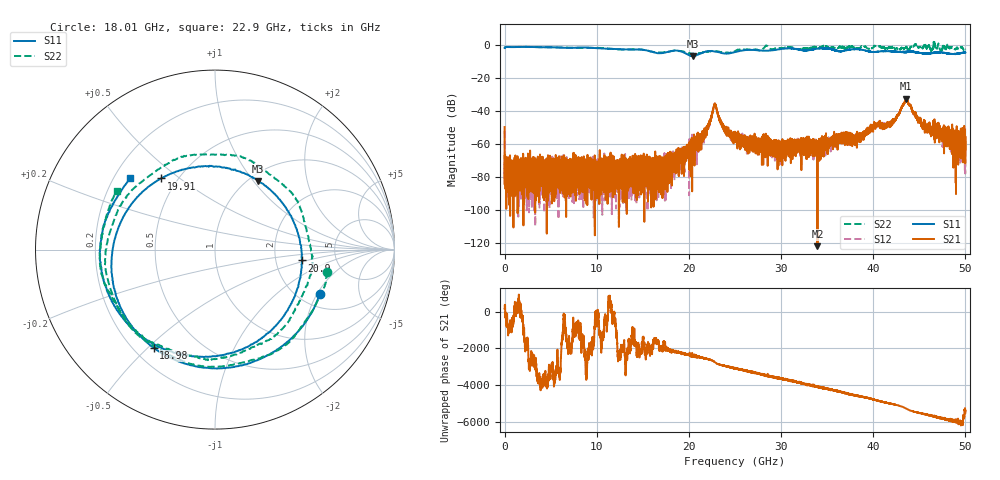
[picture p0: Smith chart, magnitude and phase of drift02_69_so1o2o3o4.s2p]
!Created with skrf (http://scikit-rf.org).
# Hz S RI R 50.0
!freq ReS11 ImS11 ReS21 ImS21 ReS12 ImS12 ReS22 ImS22
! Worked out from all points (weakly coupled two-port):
!   10001 points, 300 kHz to 50 GHz, reference 50 ohm
!   highest |S21| = -32.81 dB at 43.59 GHz (marker M1); lowest = -122.2 dB at 33.95 GHz (marker M2)
!   lowest |S11| = -6.9 dB at 20.41 GHz (marker M3), VSWR 2.64, Z = 55.3 + j52.8 ohm
!   |S11| at or under -10 dB: nowhere
!   |S22| runs from -5.7 to 2.6 dB; largest |S21 - S12| = 0.0043
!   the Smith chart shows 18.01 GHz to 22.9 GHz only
!   S11 on the Smith chart (normalised r, x): 18.01 GHz: 2.57, -2.10; 18.98 GHz: 0.28, -0.52; 19.91 GHz: 0.41, +0.43; 20.9 GHz: 2.82, -0.45; 22.9 GHz: 0.27, +0.34
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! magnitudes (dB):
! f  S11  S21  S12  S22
! 300 kHz  -2.1  -49.9  -52.3  -2.1
! 255.3 MHz  -1.4  -79.2  -83.0  -1.4
! 8.335 GHz  -1.7  -77.1  -74.7  -1.9
! 16.67 GHz  -5.2  -77.9  -73.0  -4.7
! 18.01 GHz  -4.0  -70.7  -70.0  -3.9
! 18.98 GHz  -3.8  -64.6  -64.8  -3.9
! 19.91 GHz  -6.1  -65.2  -66.0  -5.2
! 20.41 GHz  -6.9  -64.0  -58.7  -5.4
! 20.9 GHz  -6.2  -63.6  -61.3  -5.6
! 21.87 GHz  -4.2  -51.6  -52.1  -4.2
! 22.9 GHz  -4.2  -36.5  -37.0  -3.9
! 23.7 GHz  -5.2  -48.7  -48.4  -4.6
! 25 GHz  -4.5  -55.0  -54.9  -3.9
! 29.74 GHz  -2.9  -61.0  -62.6  -2.1
! 33.34 GHz  -3.0  -60.2  -60.1  -1.5
! 33.95 GHz  -2.4  -122.2  -63.4  -1.7
! 38.2 GHz  -2.8  -53.6  -57.2  -2.4
! 41.67 GHz  -4.0  -49.1  -48.7  -1.9
! 43.59 GHz  -4.6  -32.8  -33.5  -1.5
! 45.62 GHz  -5.4  -48.0  -48.0  0.3
! 48.59 GHz  -5.6  -55.6  -54.5  -1.6
! 50 GHz  -4.7  -63.5  -57.3  -2.8
